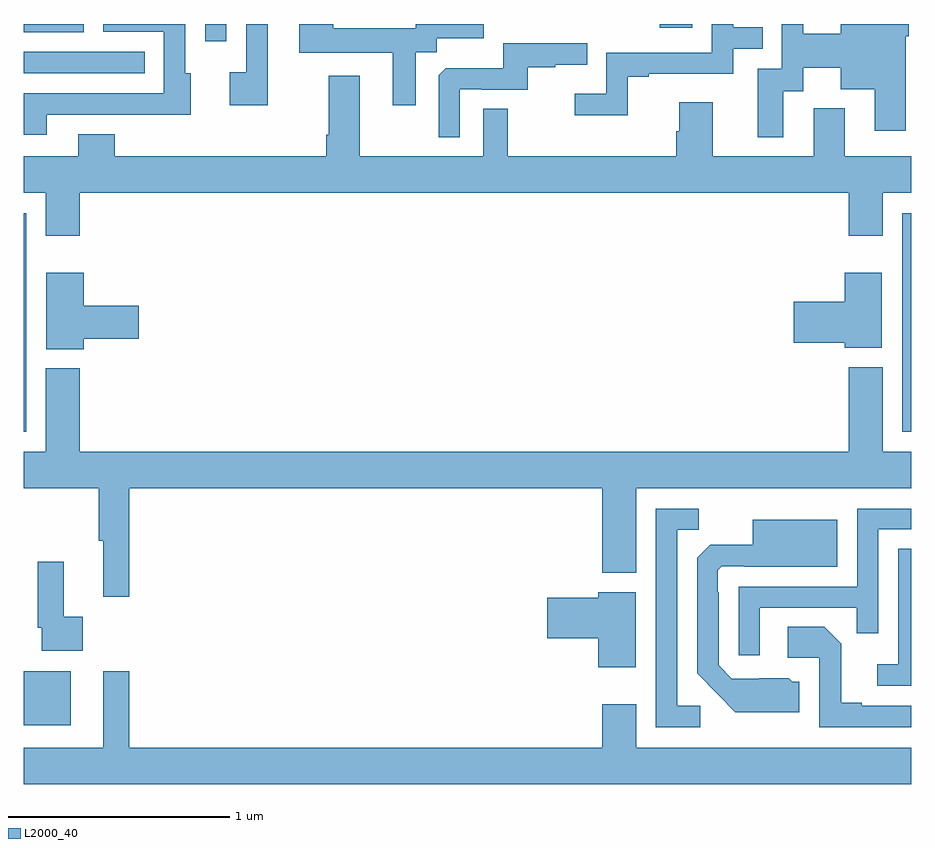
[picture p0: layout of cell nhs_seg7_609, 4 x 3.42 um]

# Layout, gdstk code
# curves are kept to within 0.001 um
import gdstk
lib = gdstk.Library(unit=1e-6, precision=1e-09)
def R(c, l, rs):  # rectangles x0, y0, x1, y1
    for r in rs: c.add(gdstk.rectangle(r[:2], r[2:], *l))
def P(c, l, *ps):  # polygons
    for p in ps: c.add(gdstk.Polygon(p, *l))
L2000_40 = (2000, 40)

nhs_seg7_609 = lib.new_cell('nhs_seg7_609')
R(nhs_seg7_609, L2000_40, [(157,1040.84,157.213,1041.085), (157,1042.164,157.011,1043.148), (160.959,1042.164,161,1043.148), (157,1043.778,157.547,1043.874), (157.818,1043.922,157.914,1044), (157,1043.963,157.27,1044), (159.867,1043.984,160.012,1044)])
P(nhs_seg7_609, L2000_40, [(160.423,1043.698),(160.513,1043.698),(160.513,1043.804),(160.682,1043.804),(160.682,1043.705),(160.835,1043.705),(160.835,1043.52),(160.975,1043.52),(160.975,1043.945),(160.988,1043.945),(160.988,1044),(160.682,1044),(160.682,1043.956),(160.512,1043.956),(160.512,1044),(160.416,1044),(160.416,1043.799),(160.307,1043.799),(160.307,1043.49),(160.423,1043.49)],
  [(158.767,1043.872),(158.862,1043.872),(158.862,1043.936),(159.073,1043.936),(159.073,1044),(158.766,1044),(158.766,1043.98),(158.395,1043.98),(158.395,1044),(158.243,1044),(158.243,1043.87),(158.663,1043.87),(158.663,1043.634),(158.767,1043.634)],
  [(157.105,1043.592),(157.535,1043.592),(157.535,1043.591),(157.753,1043.591),(157.753,1043.778),(157.728,1043.778),(157.728,1044),(157.359,1044),(157.359,1043.964),(157.632,1043.964),(157.632,1043.688),(157,1043.688),(157,1043.502),(157.105,1043.502)],
  [(158.101,1044),(158.004,1044),(158.004,1043.782),(157.929,1043.782),(157.929,1043.634),(158.101,1043.634)],
  [(159.723,1043.763),(159.817,1043.763),(159.817,1043.775),(160.197,1043.775),(160.197,1043.889),(160.331,1043.889),(160.331,1043.985),(160.197,1043.985),(160.197,1044),(160.101,1044),(160.101,1043.871),(159.624,1043.871),(159.624,1043.686),(159.483,1043.686),(159.483,1043.588),(159.723,1043.588)],
  [(158.964,1043.706),(159.064,1043.706),(159.064,1043.703),(159.272,1043.703),(159.272,1043.805),(159.395,1043.805),(159.395,1043.816),(159.539,1043.816),(159.539,1043.913),(159.162,1043.913),(159.162,1043.801),(158.903,1043.801),(158.871,1043.769),(158.871,1043.489),(158.964,1043.489)],
  [(157.253,1043.24),(160.718,1043.24),(160.718,1043.046),(160.87,1043.046),(160.87,1043.24),(161,1043.24),(161,1043.404),(160.699,1043.404),(160.699,1043.62),(160.559,1043.62),(160.559,1043.404),(160.105,1043.404),(160.105,1043.647),(159.953,1043.647),(159.953,1043.517),(159.941,1043.517),(159.941,1043.404),(159.181,1043.404),(159.181,1043.618),(159.072,1043.618),(159.072,1043.404),(158.515,1043.404),(158.515,1043.767),(158.375,1043.767),(158.375,1043.5),(158.363,1043.5),(158.363,1043.404),(157.411,1043.404),(157.411,1043.503),(157.247,1043.503),(157.247,1043.404),(157,1043.404),(157,1043.24),(157.1,1043.24),(157.1,1043.046),(157.253,1043.046)],
  [(160.867,1042.879),(160.7,1042.879),(160.7,1042.748),(160.47,1042.748),(160.47,1042.565),(160.7,1042.565),(160.7,1042.541),(160.867,1042.541)],
  [(157.27,1042.583),(157.519,1042.583),(157.519,1042.73),(157.27,1042.73),(157.27,1042.879),(157.103,1042.879),(157.103,1042.535),(157.27,1042.535)],
  [(157.1,1042.45),(157.1,1042.072),(157,1042.072),(157,1041.908),(157.339,1041.908),(157.339,1041.672),(157.358,1041.672),(157.358,1041.42),(157.475,1041.42),(157.475,1041.908),(159.608,1041.908),(159.608,1041.528),(159.76,1041.528),(159.76,1041.908),(161,1041.908),(161,1042.072),(160.87,1042.072),(160.87,1042.453),(160.718,1042.453),(160.718,1042.072),(157.253,1042.072),(157.253,1042.45)],
  [(160.317,1041.369),(160.753,1041.369),(160.753,1041.256),(160.851,1041.256),(160.851,1041.723),(161,1041.723),(161,1041.816),(160.755,1041.816),(160.755,1041.465),(160.221,1041.465),(160.221,1041.156),(160.317,1041.156)],
  [(160.048,1040.928),(159.945,1040.928),(159.945,1041.721),(160.041,1041.721),(160.041,1041.816),(159.849,1041.816),(159.849,1040.832),(160.048,1040.832)],
  [(160.495,1041.036),(160.464,1041.036),(160.448,1041.052),(160.191,1041.051),(160.131,1041.111),(160.131,1041.44),(160.128,1041.44),(160.128,1041.54),(160.146,1041.558),(160.246,1041.558),(160.246,1041.554),(160.666,1041.554),(160.666,1041.766),(160.286,1041.766),(160.286,1041.655),(160.094,1041.655),(160.035,1041.596),(160.035,1041.074),(160.207,1040.9),(160.495,1040.9)],
  [(161,1041.635),(160.941,1041.635),(160.941,1041.115),(160.845,1041.115),(160.845,1041.018),(161,1041.018)],
  [(157.267,1041.329),(157.181,1041.329),(157.181,1041.577),(157.063,1041.577),(157.063,1041.28),(157.083,1041.28),(157.083,1041.176),(157.267,1041.176)],
  [(159.757,1041.439),(159.59,1041.439),(159.59,1041.416),(159.36,1041.416),(159.36,1041.233),(159.59,1041.233),(159.59,1041.102),(159.757,1041.102)],
  [(161,1040.928),(160.777,1040.928),(160.777,1040.941),(160.683,1040.941),(160.683,1041.208),(160.607,1041.284),(160.443,1041.284),(160.443,1041.144),(160.584,1041.144),(160.584,1040.832),(161,1040.832)],
  [(161,1040.74),(159.76,1040.74),(159.76,1040.935),(159.608,1040.935),(159.608,1040.74),(157.475,1040.74),(157.475,1041.085),(157.358,1041.085),(157.358,1040.74),(157,1040.74),(157,1040.576),(161,1040.576)])

lib.write_gds('nhs_seg7_609.gds')
